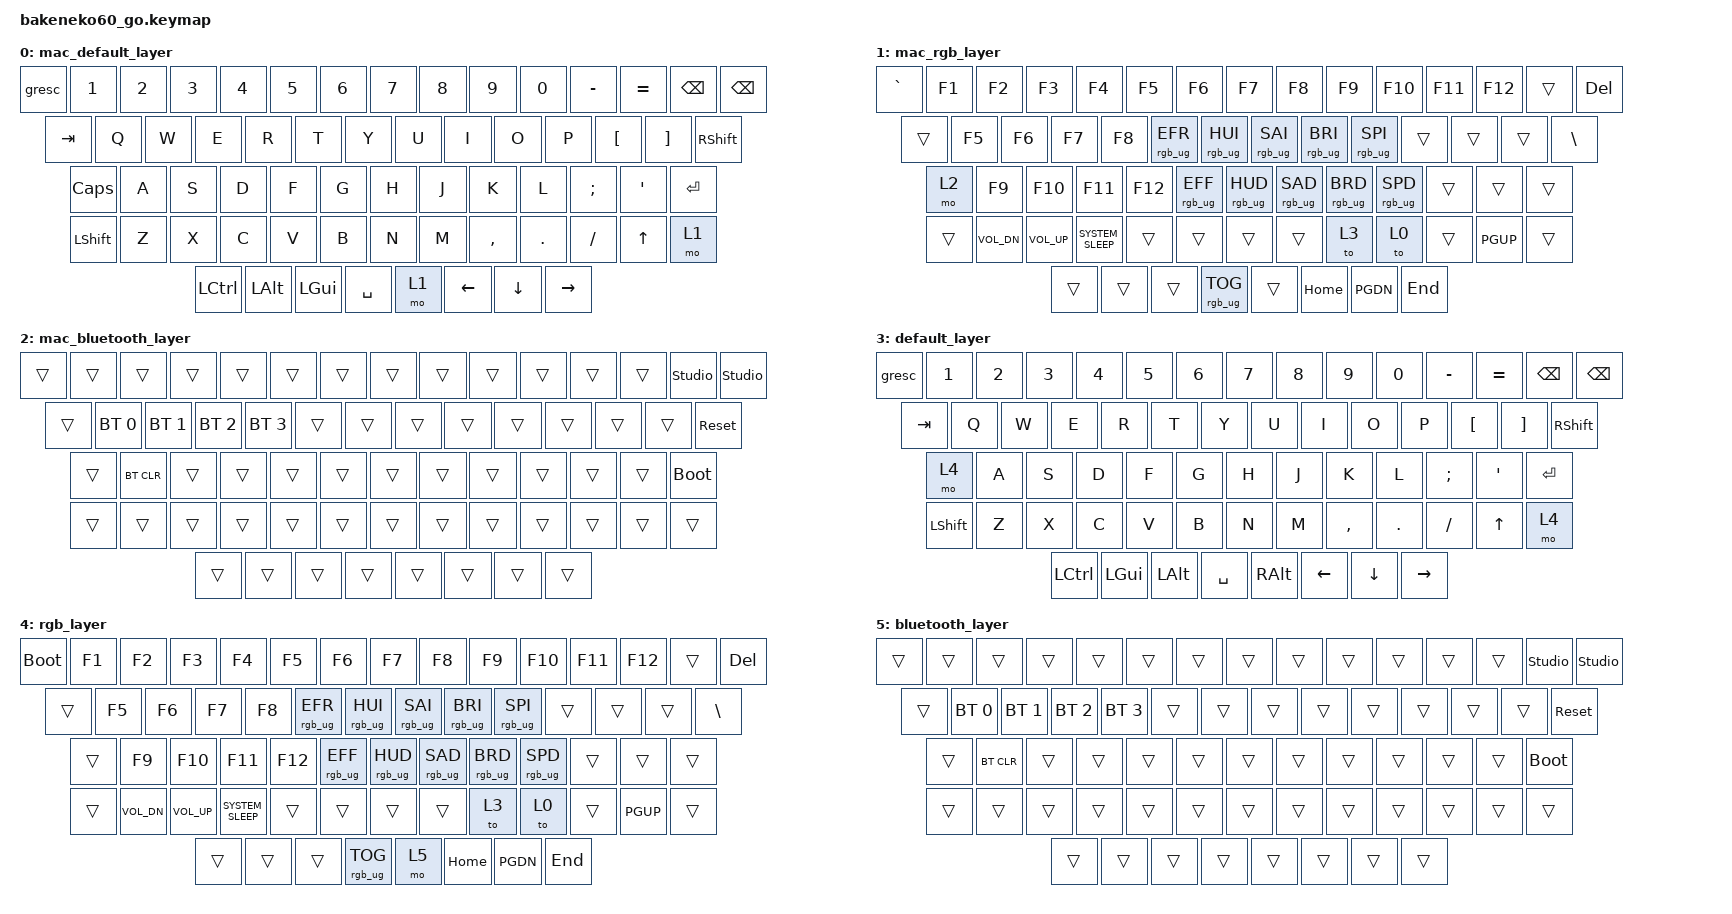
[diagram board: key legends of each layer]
/*
 * Copyright (c) 2023 Andrew Kannan
 *
 * SPDX-License-Identifier: MIT
 */

#include <behaviors.dtsi>
#include <dt-bindings/zmk/keys.h>
#include <dt-bindings/zmk/rgb.h>
#include <dt-bindings/zmk/bt.h>

/ {
    keymap {
        compatible = "zmk,keymap";

        // === Mac layers (0, 1, 2) ===

        mac_default_layer {
// ------------------------------------------------------------------------------------------
// | ESC |  1  |  2  |  3  |  4  |  5  |  6  |  7  |  8  |  9  |  0  |  -  |  =  | BKSP|BKSP|
// | TAB  |  Q  |  W  |  E  |  R  |  T  |  Y  |  U  |  I  |  O  |  P  |  [  |  ]  | RSHFT  |
// | CAPS |  A  |  S  |  D  |  F  |  G  |  H  |  J  |  K  |  L  |  ;  |  '  |     ENTER    |
// |  LSHFT  |  Z  |  X  |  C  |  V  |  B  |  N  |  M  |  ,  |  .  |  /  |  UP  |  MO(1)  |
// |  LCTL  |  ALT  |  CMD  |            SPACE              |  MO(1)  |  LEFT  |  DOWN  |  RIGHT  |
// ------------------------------------------------------------------------------------------
            bindings = <
    &gresc  &kp N1 &kp N2 &kp N3 &kp N4 &kp N5 &kp N6 &kp N7 &kp N8 &kp N9 &kp N0 &kp MINUS &kp EQUAL  &kp BSPC &kp BSPC
    &kp TAB  &kp Q  &kp W  &kp E  &kp R  &kp T  &kp Y  &kp U  &kp I  &kp O  &kp P  &kp LBKT  &kp RBKT  &kp RSHFT
    &kp CAPS  &kp A  &kp S  &kp D  &kp F  &kp G  &kp H  &kp J  &kp K  &kp L  &kp SEMI &kp SQT           &kp RET
    &kp LSHFT   &kp Z  &kp X  &kp C  &kp V  &kp B  &kp N  &kp M  &kp COMMA &kp DOT &kp FSLH   &kp UP &mo 1
    &kp LCTRL &kp LALT &kp LGUI             &kp SPACE                     &mo 1  &kp LEFT  &kp DOWN   &kp RIGHT
            >;
        };

        mac_rgb_layer {
// ------------------------------------------------------------------------------------------------
// |  `  | F1  | F2  | F3  | F4  | F5  | F6  | F7  | F8  | F9  | F10 | F11 | F12 |     | DEL |
// | TRANS | F5  | F6  | F7  | F8  |EFR |HUI |SAI |BRI |SPI | TRANS| TRANS| TRANS| BSLH|
// | TRANS | F9  | F10 | F11 | F12 |EFF |HUD |SAD |BRD |SPD | TRANS| TRANS|      TRANS      |
// | TRANS |VOL- |VOL+ |SLEEP| TRANS|TRANS|TRANS|TRANS| WIN | MAC |TRANS|  UP  |    TRANS    |
// | TRANS | TRANS | TRANS |          TOG RGB           |  MO(2)  | HOME | PGDN | END |
// ------------------------------------------------------------------------------------------------
            bindings = <
    &kp GRAVE &kp F1    &kp F2    &kp F3  &kp F4           &kp F5          &kp F6          &kp F7          &kp F8   &kp F9   &kp F10  &kp F11 &kp F12  &trans &kp DEL
    &trans  &kp F5    &kp F6    &kp F7  &kp F8  &rgb_ug RGB_EFR  &rgb_ug RGB_HUI  &rgb_ug RGB_SAI &rgb_ug RGB_BRI &rgb_ug RGB_SPI  &trans   &trans   &trans   &kp BSLH
    &mo 2  &kp F9    &kp F10    &kp F11  &kp F12 &rgb_ug RGB_EFF &rgb_ug RGB_HUD &rgb_ug RGB_SAD &rgb_ug RGB_BRD &rgb_ug RGB_SPD  &trans   &trans   &trans
    &trans  &kp K_VOL_DN    &kp K_VOL_UP    &kp SYSTEM_SLEEP  &trans &trans       &trans    &trans    &to 3   &to 0          &trans                    &kp PGUP  &trans
    &trans       &trans   &trans                            &rgb_ug RGB_TOG                                      &trans      &kp HOME &kp PGDN &kp END
            >;
        };

        mac_bluetooth_layer {
// ------------------------------------------------------------------------------------------------
// |TRANS|TRANS|TRANS|TRANS|TRANS|TRANS|TRANS|TRANS|TRANS|TRANS|TRANS|TRANS|TRANS|UNLOCK|UNLOCK|
// |TRANS| BT0 | BT1 | BT2 | BT3 |TRANS|TRANS|TRANS|TRANS|TRANS|TRANS|TRANS|TRANS|  RESET  |
// |TRANS|BTCLR|TRANS|TRANS|TRANS|TRANS|TRANS|TRANS|TRANS|TRANS|TRANS|TRANS|   BOOTLDR   |
// |TRANS|TRANS|TRANS|TRANS|TRANS|TRANS|TRANS|TRANS|TRANS|TRANS|TRANS|TRANS|    TRANS    |
// |TRANS|TRANS|TRANS|              TRANS              |TRANS|TRANS|TRANS|TRANS|
// ------------------------------------------------------------------------------------------------
            bindings = <
    &trans   &trans    &trans    &trans  &trans           &trans          &trans     &trans      &trans   &trans   &trans  &trans &trans  &studio_unlock &studio_unlock
    &trans  &bt BT_SEL 0   &bt BT_SEL 1    &bt BT_SEL 2  &bt BT_SEL 3  &trans &trans &trans  &trans   &trans   &trans   &trans  &trans        &sys_reset
    &trans   &bt BT_CLR  &trans  &trans &trans &trans &trans &trans &trans &trans &trans   &trans        &bootloader
    &trans    &trans    &trans    &trans   &trans          &trans          &trans          &trans          &trans   &trans   &trans     &trans  &trans
    &trans  &trans   &trans                            &trans                                      &trans      &trans      &trans               &trans
            >;
        };

        // === Windows layers (3, 4, 5) ===

        default_layer {
// ------------------------------------------------------------------------------------------
// | ESC |  1  |  2  |  3  |  4  |  5  |  6  |  7  |  8  |  9  |  0  |  -  |  =  | BKSP|BKSP|
// | TAB  |  Q  |  W  |  E  |  R  |  T  |  Y  |  U  |  I  |  O  |  P  |  [  |  ]  | RSHFT  |
// | MO(4) |  A  |  S  |  D  |  F  |  G  |  H  |  J  |  K  |  L  |  ;  |  '  |     ENTER    |
// |  LSHFT  |  Z  |  X  |  C  |  V  |  B  |  N  |  M  |  ,  |  .  |  /  |  UP  |  MO(4)  |
// |  LCTL  |  WIN  |  ALT  |            SPACE              |  RALT  |  LEFT  |  DOWN  |  RIGHT  |
// ------------------------------------------------------------------------------------------
            bindings = <
    &gresc  &kp N1 &kp N2 &kp N3 &kp N4 &kp N5 &kp N6 &kp N7 &kp N8 &kp N9 &kp N0 &kp MINUS &kp EQUAL  &kp BSPC &kp BSPC
    &kp TAB  &kp Q  &kp W  &kp E  &kp R  &kp T  &kp Y  &kp U  &kp I  &kp O  &kp P  &kp LBKT  &kp RBKT  &kp RSHFT
    &mo 4  &kp A  &kp S  &kp D  &kp F  &kp G  &kp H  &kp J  &kp K  &kp L  &kp SEMI &kp SQT           &kp RET
    &kp LSHFT   &kp Z  &kp X  &kp C  &kp V  &kp B  &kp N  &kp M  &kp COMMA &kp DOT &kp FSLH   &kp UP &mo 4
    &kp LCTRL &kp LGUI &kp LALT             &kp SPACE                     &kp RALT  &kp LEFT  &kp DOWN   &kp RIGHT
            >;
        };

        rgb_layer {
// ------------------------------------------------------------------------------------------------
// | BOOT| F1  | F2  | F3  | F4  | F5  | F6  | F7  | F8  | F9  | F10 | F11 | F12 |     | DEL |
// | TRANS | F5  | F6  | F7  | F8  |EFR |HUI |SAI |BRI |SPI | TRANS| TRANS| TRANS| BSLH|
// | TRANS | F9  | F10 | F11 | F12 |EFF |HUD |SAD |BRD |SPD | TRANS| TRANS|      TRANS      |
// | TRANS |VOL- |VOL+ |SLEEP| TRANS|TRANS|TRANS|TRANS| WIN | MAC |TRANS|  UP  |    TRANS    |
// | TRANS | TRANS | TRANS |          TOG RGB           |  MO(5)  | HOME | PGDN | END |
// ------------------------------------------------------------------------------------------------
            bindings = <
    &bootloader &kp F1    &kp F2    &kp F3  &kp F4           &kp F5          &kp F6          &kp F7          &kp F8   &kp F9   &kp F10  &kp F11 &kp F12  &trans &kp DEL
    &trans  &kp F5    &kp F6    &kp F7  &kp F8  &rgb_ug RGB_EFR  &rgb_ug RGB_HUI  &rgb_ug RGB_SAI &rgb_ug RGB_BRI &rgb_ug RGB_SPI  &trans   &trans   &trans   &kp BSLH
    &trans  &kp F9    &kp F10    &kp F11  &kp F12 &rgb_ug RGB_EFF &rgb_ug RGB_HUD &rgb_ug RGB_SAD &rgb_ug RGB_BRD &rgb_ug RGB_SPD  &trans   &trans   &trans
    &trans  &kp K_VOL_DN    &kp K_VOL_UP    &kp SYSTEM_SLEEP  &trans &trans       &trans    &trans    &to 3   &to 0          &trans                    &kp PGUP  &trans
    &trans       &trans   &trans                            &rgb_ug RGB_TOG                                      &mo 5      &kp HOME &kp PGDN &kp END
            >;
        };

        bluetooth_layer {
// ------------------------------------------------------------------------------------------------
// |TRANS|TRANS|TRANS|TRANS|TRANS|TRANS|TRANS|TRANS|TRANS|TRANS|TRANS|TRANS|TRANS|UNLOCK|UNLOCK|
// |TRANS| BT0 | BT1 | BT2 | BT3 |TRANS|TRANS|TRANS|TRANS|TRANS|TRANS|TRANS|TRANS|  RESET  |
// |TRANS|BTCLR|TRANS|TRANS|TRANS|TRANS|TRANS|TRANS|TRANS|TRANS|TRANS|TRANS|   BOOTLDR   |
// |TRANS|TRANS|TRANS|TRANS|TRANS|TRANS|TRANS|TRANS|TRANS|TRANS|TRANS|TRANS|    TRANS    |
// |TRANS|TRANS|TRANS|              TRANS              |TRANS|TRANS|TRANS|TRANS|
// ------------------------------------------------------------------------------------------------
            bindings = <
    &trans   &trans    &trans    &trans  &trans           &trans          &trans     &trans      &trans   &trans   &trans  &trans &trans  &studio_unlock &studio_unlock
    &trans  &bt BT_SEL 0   &bt BT_SEL 1    &bt BT_SEL 2  &bt BT_SEL 3  &trans &trans &trans  &trans   &trans   &trans   &trans  &trans        &sys_reset
    &trans   &bt BT_CLR  &trans  &trans &trans &trans &trans &trans &trans &trans &trans   &trans        &bootloader
    &trans    &trans    &trans    &trans   &trans          &trans          &trans          &trans          &trans   &trans   &trans     &trans  &trans
    &trans  &trans   &trans                            &trans                                      &trans      &trans      &trans               &trans
            >;
        };

    };

    combos {
        compatible = "zmk,combos";
    };

};
